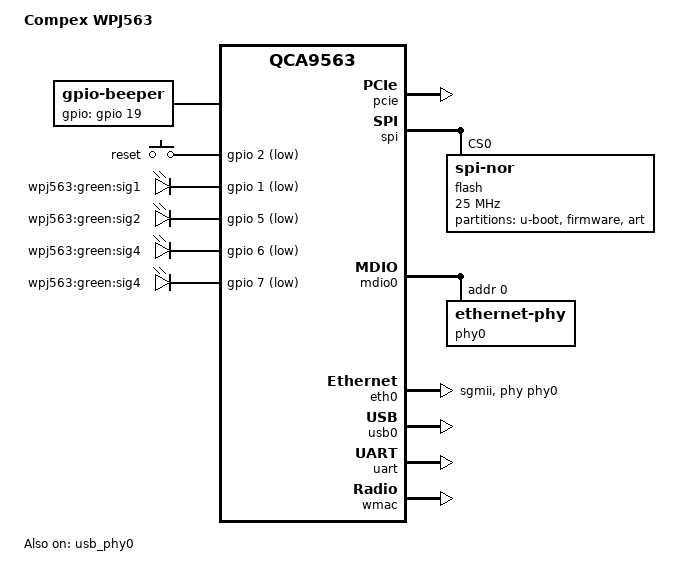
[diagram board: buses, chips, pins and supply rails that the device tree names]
// SPDX-License-Identifier: GPL-2.0-or-later OR MIT
/dts-v1/;

#include <dt-bindings/gpio/gpio.h>
#include <dt-bindings/input/input.h>

#include "qca956x.dtsi"

/ {
	model = "Compex WPJ563";
	compatible = "compex,wpj563", "qca,qca9563";

	aliases {
		label-mac-device = &eth0;
		led-boot = &led_sig4;
		led-failsafe = &led_sig4;
		led-running = &led_sig4;
		led-upgrade = &led_sig4;
	};

	beeper {
		compatible = "gpio-beeper";
		gpios = <&gpio 19 GPIO_ACTIVE_HIGH>;
	};

	keys {
		compatible = "gpio-keys";

		reset {
			label = "reset";
			linux,code = <KEY_RESTART>;
			gpios = <&gpio 2 GPIO_ACTIVE_LOW>;
			debounce-interval = <60>;
		};
	};

	leds {
		compatible = "gpio-leds";

		sig1 {
			label = "wpj563:green:sig1";
			gpios = <&gpio 1 GPIO_ACTIVE_LOW>;
		};

		sig2 {
			label = "wpj563:green:sig2";
			gpios = <&gpio 5 GPIO_ACTIVE_LOW>;
		};

		sig3 {
			label = "wpj563:green:sig4";
			gpios = <&gpio 6 GPIO_ACTIVE_LOW>;
		};

		led_sig4: sig4 {
			label = "wpj563:green:sig4";
			gpios = <&gpio 7 GPIO_ACTIVE_LOW>;
		};
	};
};

&pcie {
	status = "okay";
};

&spi {
	status = "okay";

	num-cs = <1>;

	flash@0 {
		compatible = "jedec,spi-nor";
		reg = <0>;
		spi-max-frequency = <25000000>;

		partitions {
			compatible = "fixed-partitions";
			#address-cells = <1>;
			#size-cells = <1>;

			uboot: partition@0 {
				label = "u-boot";
				reg = <0x000000 0x030000>;
				read-only;
			};

			partition@30000 {
				compatible = "denx,uimage";
				label = "firmware";
				reg = <0x030000 0xfc0000>;
			};

			art: partition@ff0000 {
				label = "art";
				reg = <0xff0000 0x010000>;
				read-only;
			};
		};
	};
};

&mdio0 {
	status = "okay";

	phy-mask = <0>;

	phy0: ethernet-phy@0 {
		reg = <0>;
		phy-mode = "sgmii";
		qca,mib-poll-interval = <500>;

		qca,ar8327-initvals = <
			0x04 0x00080080 /* PORT0 PAD MODE CTRL */
			0x7c 0x0000007e /* PORT0_STATUS */
		>;
	};
};

&eth0 {
	status = "okay";

	pll-data = <0x03000101 0x00000101 0x00001919>;

	mtd-mac-address = <&uboot 0x2e010>;
	phy-mode = "sgmii";
	phy-handle = <&phy0>;
};

&usb_phy0 {
	status = "okay";
};

&usb0 {
	status = "okay";
};

&uart {
	status = "okay";
};

&wmac {
	status = "okay";

	mtd-cal-data = <&art 0x1000>;
};
